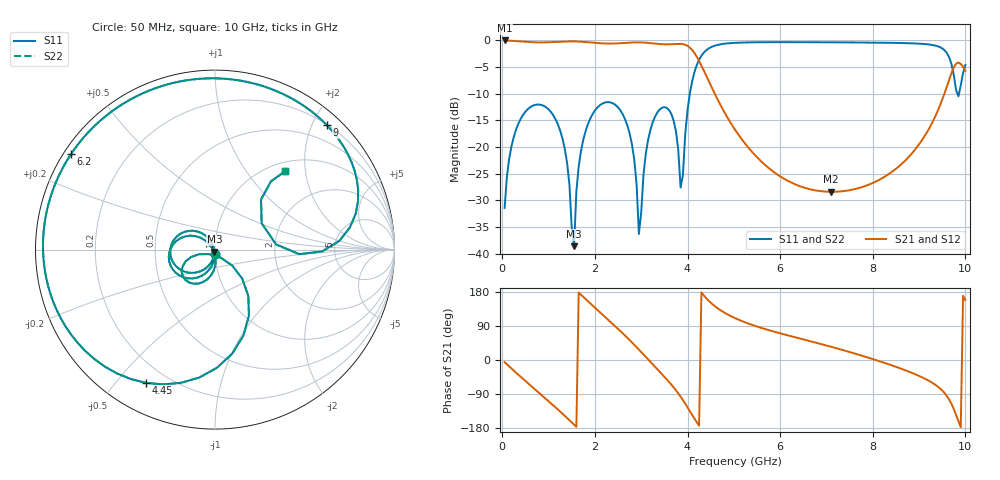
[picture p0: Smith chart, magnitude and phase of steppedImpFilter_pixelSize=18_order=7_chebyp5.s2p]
! freq	dB(S11)	phase(S11)	dB(S12)	phase(S12)
!  dB(S21)	phase(S21)	dB(S22)	phase(S22)
!S-par simulation data
#  GHz  S  DB  R 50
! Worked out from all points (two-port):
!   200 points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, 50 MHz to 10 GHz, reference 50 ohm
!   highest |S21| = -0.01 dB at 50 MHz (marker M1); lowest = -28.4 dB at 7.1 GHz (marker M2)
!   |S21| within 3 dB of the highest: start of sweep to 4.196 GHz
!   lowest |S11| = -38.6 dB at 1.55 GHz (marker M3), VSWR 1.02, Z = 49.7 - j1.13 ohm
!   |S11| at or under -10 dB: start of sweep to 4.049 GHz; 9.828522 GHz to 9.862037 GHz (33.51 MHz wide, 0.34 % of centre)
!   |S22| runs from -38.6 to -0.3 dB; largest |S21 - S12| = 0
!   S11 on the Smith chart (normalised r, x): 50 MHz: 0.99, -0.05; 4.45 GHz: 0.12, -0.60; 6.2 GHz: 0.02, +0.30; 9 GHz: 0.21, +2.23; 10 GHz: 1.17, +1.56
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0.05  -31.44 -95.5  -0.01 -5.7  -0.01 -5.7  -31.44 -95.5
0.3  -16.67 -124.2  -0.14 -33.7  -0.14 -33.7  -16.67 -124.3
0.9  -12.31 171.8  -0.37 -98.0  -0.37 -98.0  -12.30 171.7
1.35  -20.37 124.3  -0.21 -147.4  -0.21 -147.4  -20.37 124.3
1.55  -38.61 -104.9  -0.19 -170.4  -0.19 -170.4  -38.63 -104.7
1.75  -18.60 -106.3  -0.28 166.5  -0.28 166.5  -18.60 -106.3
2.6  -13.85 161.8  -0.51 70.6  -0.51 70.6  -13.85 161.7
2.85  -22.41 136.9  -0.38 40.1  -0.38 40.1  -22.42 136.7
2.95  -36.32 161.8  -0.38 27.4  -0.38 27.4  -36.42 161.1
3.4  -12.96 -122.3  -0.69 -31.0  -0.69 -31.0  -12.96 -122.3
3.7  -15.05 -158.0  -0.69 -72.2  -0.69 -72.2  -15.05 -158.1
3.85  -27.60 -142.7  -0.65 -96.5  -0.65 -96.5  -27.69 -143.2
4.1  -7.67 -62.8  -1.80 -144.9  -1.80 -144.9  -7.67 -62.7
4.45  -1.56 -117.3  -7.49 157.2  -7.49 157.2  -1.56 -117.3
5.05  -0.45 -165.0  -17.08 109.1  -17.08 109.1  -0.45 -165.0
6.2  -0.33 146.5  -26.51 63.9  -26.51 63.9  -0.33 146.4
6.7  -0.34 129.4  -28.04 48.0  -28.04 48.0  -0.34 129.4
7.1  -0.36 116.2  -28.42 34.9  -28.42 34.9  -0.36 116.1
8.35  -0.45 73.7  -25.06 -11.6  -25.06 -11.6  -0.45 73.6
9  -0.61 48.0  -19.50 -42.0  -19.50 -42.0  -0.61 47.9
9.7  -4.48 -1.0  -6.14 -115.9  -6.14 -115.9  -4.49 -1.0
10  -4.62 48.2  -5.70 158.1  -5.70 158.1  -4.62 48.1
